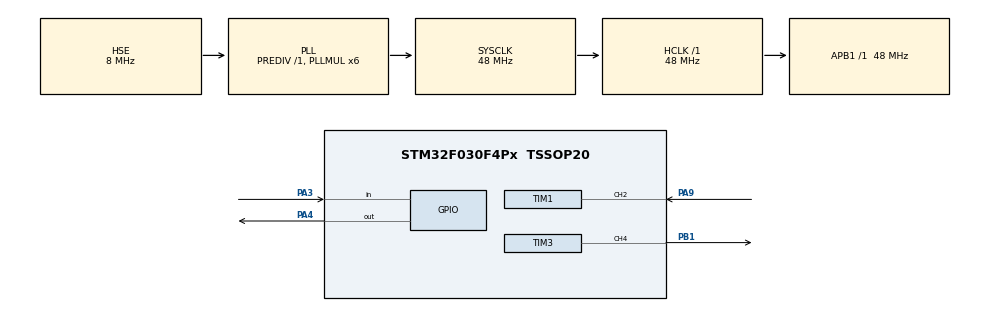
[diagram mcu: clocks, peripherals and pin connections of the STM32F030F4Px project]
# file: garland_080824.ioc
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Dma.Request0=TIM3_CH4/UP
Dma.TIM3_CH4/UP.0.Direction=DMA_MEMORY_TO_PERIPH
Dma.TIM3_CH4/UP.0.Instance=DMA1_Channel3
Dma.TIM3_CH4/UP.0.MemDataAlignment=DMA_MDATAALIGN_BYTE
Dma.TIM3_CH4/UP.0.MemInc=DMA_MINC_ENABLE
Dma.TIM3_CH4/UP.0.Mode=DMA_CIRCULAR
Dma.TIM3_CH4/UP.0.PeriphDataAlignment=DMA_PDATAALIGN_HALFWORD
Dma.TIM3_CH4/UP.0.PeriphInc=DMA_PINC_DISABLE
Dma.TIM3_CH4/UP.0.Priority=DMA_PRIORITY_HIGH
Mcu.Family=STM32F0
Mcu.Name=STM32F030F4Px
Mcu.Package=TSSOP20
NVIC.DMA1_Channel2_3_IRQn=true\:0\:0\:false\:false\:true\:false\:true\:true
NVIC.TIM17_IRQn=true\:0\:0\:false\:false\:true\:true\:true\:true
NVIC.TIM1_BRK_UP_TRG_COM_IRQn=true\:0\:0\:false\:false\:true\:true\:true\:true
NVIC.TIM1_CC_IRQn=true\:0\:0\:false\:false\:true\:true\:true\:true
PA13.Mode=Serial_Wire
PA13.Signal=SYS_SWDIO
PA14.Mode=Serial_Wire
PA14.Signal=SYS_SWCLK
PA3.GPIO_PuPd=GPIO_PULLUP
PA3.Signal=GPIO_Input
PA4.GPIO_Speed=GPIO_SPEED_FREQ_HIGH
PA4.PinState=GPIO_PIN_SET
PA4.Signal=GPIO_Output
PA9.GPIO_ModeDefaultPP=GPIO_MODE_AF_PP
PA9.GPIO_Speed=GPIO_SPEED_FREQ_HIGH
PA9.Signal=S_TIM1_CH2
PB1.GPIO_Speed=GPIO_SPEED_FREQ_HIGH
PB1.Signal=S_TIM3_CH4
PF0-OSC_IN.Mode=HSE-External-Oscillator
PF0-OSC_IN.Signal=RCC_OSC_IN
PF1-OSC_OUT.Mode=HSE-External-Oscillator
PF1-OSC_OUT.Signal=RCC_OSC_OUT
ProjectManager.HeapSize=0x200
ProjectManager.StackSize=0x400
ProjectManager.TargetToolchain=Makefile
RCC.AHBFreq_Value=48000000
RCC.APB1Freq_Value=48000000
RCC.APB1TimFreq_Value=48000000
RCC.HCLKFreq_Value=48000000
RCC.HSE_Timout=1000
RCC.PLLMUL=RCC_PLL_MUL6
RCC.PLLSourceVirtual=RCC_PLLSOURCE_HSE
RCC.SYSCLKFreq_VALUE=48000000
RCC.SYSCLKSource=RCC_SYSCLKSOURCE_PLLCLK
SH.S_TIM1_CH2.0=TIM1_CH2,TriggerSource_TI2FP2
SH.S_TIM1_CH2.1=TIM1_CH2,Input_Capture2_from_TI2
SH.S_TIM3_CH4.0=TIM3_CH4,PWM Generation4 CH4
TIM1.Channel-Input_Capture2_from_TI2=TIM_CHANNEL_2
TIM1.ICFilter_CH2=4
TIM1.ICPolarity_CH2=TIM_INPUTCHANNELPOLARITY_FALLING
TIM1.Prescaler=47
TIM17.Period=9
TIM17.Prescaler=4799
TIM3.AutoReloadPreload=TIM_AUTORELOAD_PRELOAD_ENABLE
TIM3.Channel-PWM\ Generation4\ CH4=TIM_CHANNEL_4
TIM3.Period=59
VP_TIM17_VS_ClockSourceINT.Mode=Enable_Timer
VP_TIM1_VS_ClockSourceINT.Mode=Internal
VP_TIM1_VS_ControllerModeReset.Mode=Reset Mode
VP_TIM3_VS_ClockSourceINT.Mode=Internal
board=custom

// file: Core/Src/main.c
/* USER CODE BEGIN Header */
/**
  ******************************************************************************
  * @file           : main.c
  * @brief          : Main program body
  ******************************************************************************
  * @attention
  *
  * Copyright (c) 2024 STMicroelectronics.
  * All rights reserved.
  *
  * This software is licensed under terms that can be found in the LICENSE file
  * in the root directory of this software component.
  * If no LICENSE file comes with this software, it is provided AS-IS.
  *
  ******************************************************************************
  */
/* USER CODE END Header */
#include "main.h"

/* USER CODE BEGIN Includes */
#include "tinsel.h"
#include "button.h"
#include "nec.h"
#include "effects_service.h"
/* USER CODE END Includes */

TIM_HandleTypeDef htim1;
TIM_HandleTypeDef htim3;
TIM_HandleTypeDef htim17;
DMA_HandleTypeDef hdma_tim3_ch4_up;

/* USER CODE BEGIN PV */
enum { garland_length = 22 };
enum { btn_double_click_pause_ms = 200 };
enum { dummy_arg = 0 };
enum { garland_update_period_ms = 50 };
enum { garland_default_brightness = 255 };

SMARTLED_DEF(garland, garland_length);

struct button btn;
struct NEC main_nec;
/* USER CODE END PV */

void SystemClock_Config(void);
static void MX_GPIO_Init(void);
static void MX_DMA_Init(void);
static void MX_TIM3_Init(void);
static void MX_TIM17_Init(void);
static void MX_TIM1_Init(void);

/* USER CODE BEGIN 0 */
static void garland_start(smartled_t *garland)
{
    HAL_TIM_PWM_Start_DMA(&htim3,
                          TIM_CHANNEL_4,
                          (uint32_t *) garland->pulses_buffer,
                          2 * SMARTLED_PULSES_PER_LED);
}

static void garland_stop(smartled_t *garland)
{
    HAL_TIM_PWM_Stop_DMA(&htim3, TIM_CHANNEL_4);
}

enum { auto_switch_check_period_ms = 10 };
enum { auto_switch_delay_period_ms = 60000 };
enum { auto_switch_brightness_step = 1 };

typedef enum {
    auto_switch_state_initial,
    auto_switch_state_wait_for_falling,
    auto_switch_state_falling,
    auto_switch_state_rising
} auto_switch_state_t;

static const bool random_effect_choice = false;

static volatile bool auto_switch_flag = true;
static volatile uint32_t auto_switch_counter;
static volatile auto_switch_state_t auto_switch_state = auto_switch_state_initial;

static void auto_switch_routine(uint32_t data)
{
    tinsel_add_task_timer(auto_switch_routine, dummy_arg, auto_switch_check_period_ms);

    if (!auto_switch_flag)
    {
        if (smartled_get_brightness(&garland) != garland_default_brightness)
        {
            smartled_set_brightness(&garland, garland_default_brightness);
            auto_switch_state = auto_switch_state_initial;
        }

        return;
    }

    switch (auto_switch_state)
    {
        case auto_switch_state_initial:
            smartled_set_brightness(&garland, garland_default_brightness);
            auto_switch_counter = auto_switch_delay_period_ms / auto_switch_check_period_ms;
            auto_switch_state = auto_switch_state_wait_for_falling;
            break;

        case auto_switch_state_wait_for_falling:
            if (!auto_switch_counter)
                auto_switch_state = auto_switch_state_falling;
            else
                auto_switch_counter--;
            break;

        case auto_switch_state_falling:
            if (smartled_get_brightness(&garland) > auto_switch_brightness_step)
            {
                smartled_set_brightness(&garland, smartled_get_brightness(&garland) - auto_switch_brightness_step);
            }
            else
            {
                smartled_set_brightness(&garland, 0);
                effects_service_next_effect(random_effect_choice);
                auto_switch_state = auto_switch_state_rising;
            }

            break;

        case auto_switch_state_rising:
            if (smartled_get_brightness(&garland) < garland_default_brightness - auto_switch_brightness_step)
            {
                smartled_set_brightness(&garland, smartled_get_brightness(&garland) + auto_switch_brightness_step);
            }
            else
            {
                smartled_set_brightness(&garland, garland_default_brightness);
                auto_switch_counter = auto_switch_delay_period_ms / auto_switch_check_period_ms;
                auto_switch_state = auto_switch_state_wait_for_falling;
            }

            break;
    }
}

static void garland_routine(uint32_t data)
{
    effects_service_play_currect_effect(&garland);
    smartled_flush(&garland);
}

static void button_routine(uint32_t data)
{
    tinsel_add_task_timer(button_routine, dummy_arg, 1);

    button_check(&btn);
}

void HAL_TIM_PeriodElapsedCallback(TIM_HandleTypeDef *htim)
{
    if (htim == &htim17) {
        tinsel_timer_check();
    }
}

static void foo(void)
{
    if (!smartled_next(&garland)) {
        tinsel_add_task_timer(garland_routine,
                              dummy_arg,
                              garland_update_period_ms);
    }
}

void HAL_TIM_PWM_PulseFinishedHalfCpltCallback(TIM_HandleTypeDef * htim)
{
    if (htim == &htim3) {
        foo();
    }
}

void HAL_TIM_PWM_PulseFinishedCallback(TIM_HandleTypeDef * htim)
{
    if (htim == &htim3) {
        foo();
    }
}

static bool btn_read(void)
{
    return HAL_GPIO_ReadPin(GPIOA, GPIO_PIN_3) == GPIO_PIN_RESET;
}

static void btn_click_callback(uint8_t clicks)
{
    if (clicks == 1)
    {
        auto_switch_state = auto_switch_state_initial;
        effects_service_next_effect(false);
    }

    if (clicks == 2)
    {
        auto_switch_state = auto_switch_state_initial;
        effects_service_next_effect(true);
    }
}

void main_nec_start(void)
{
    HAL_TIM_IC_Start_IT(&htim1, TIM_CHANNEL_2);
}

int32_t main_nec_read_pulse(void)
{
    return HAL_TIM_ReadCapturedValue(&htim1, TIM_CHANNEL_2);
}

static uint8_t nec_prev_address = 0x00;
static uint8_t nec_prev_command = 0x00;
static uint8_t nec_prev_exist = 0;

void main_nec_dec_callback(uint8_t address, uint8_t command)
{
    nec_prev_address = address;
    nec_prev_command = command;
    nec_prev_exist = 1;

    /* next effect */
    if (address == 0x00 && command == 0x1C)
    {
        btn_click_callback(1);
    }

    /* brightness++ */
    if (address == 0x00 && command == 0x18)
    {
        uint8_t brightness = smartled_get_brightness(&garland);

        brightness = (brightness <= 250) ? brightness + 5 : brightness;
        smartled_set_brightness(&garland, brightness);
    }

    /* brightness-- */
    if (address == 0x00 && command == 0x52)
    {
        uint8_t brightness = smartled_get_brightness(&garland);

        brightness = (brightness >= 5) ? brightness - 5 : brightness;
        smartled_set_brightness(&garland, brightness);
    }
}

void main_nec_rep_callback(void)
{
    if (nec_prev_exist)
    {
        main_nec_dec_callback(nec_prev_address, nec_prev_command);
    }
}

void main_nec_err_callback(enum nec_error err_code)
{

}

void HAL_TIM_IC_CaptureCallback(TIM_HandleTypeDef *htim)
{
    if (htim == &htim1) {
        NEC_Worker(&main_nec);
    }
}

static void nec_receiver_init(void)
{
    main_nec.start = main_nec_start;
    main_nec.read_pulse = main_nec_read_pulse;
    main_nec.dec_callback = main_nec_dec_callback;
    main_nec.rep_callback = main_nec_rep_callback;
    main_nec.err_callback = main_nec_err_callback;

    NEC_Start(&main_nec);
}
/* USER CODE END 0 */

int main(void)
{

  /* MCU Configuration--------------------------------------------------------*/

  /* Reset of all peripherals, Initializes the Flash interface and the Systick. */
  HAL_Init();

  /* Configure the system clock */
  SystemClock_Config();

  /* Initialize all configured peripherals */
  MX_GPIO_Init();
  MX_DMA_Init();
  MX_TIM3_Init();
  MX_TIM17_Init();
  MX_TIM1_Init();
  /* USER CODE BEGIN 2 */
  smartled_init(&garland,
                SMARTLED_GRB,
                garland_default_brightness,
                garland_start,
                garland_stop);

  button_init(&btn,
              btn_double_click_pause_ms,
              btn_read,
              btn_click_callback);

  effects_service_init();

  tinsel_init();
  tinsel_add_task(garland_routine, dummy_arg);
  tinsel_add_task(button_routine, dummy_arg);
  tinsel_add_task(auto_switch_routine, dummy_arg);

  nec_receiver_init();

  HAL_TIM_Base_Start_IT(&htim17);
  return tinsel_run();
  /* USER CODE END 2 */

  /* Infinite loop */
  while (1)
  {

  }
}

void SystemClock_Config(void)
{
  RCC_OscInitTypeDef RCC_OscInitStruct = {0};
  RCC_ClkInitTypeDef RCC_ClkInitStruct = {0};

  /** Initializes the RCC Oscillators according to the specified parameters
  * in the RCC_OscInitTypeDef structure.
  */
  RCC_OscInitStruct.OscillatorType = RCC_OSCILLATORTYPE_HSE;
  RCC_OscInitStruct.HSEState = RCC_HSE_ON;
  RCC_OscInitStruct.PLL.PLLState = RCC_PLL_ON;
  RCC_OscInitStruct.PLL.PLLSource = RCC_PLLSOURCE_HSE;
  RCC_OscInitStruct.PLL.PLLMUL = RCC_PLL_MUL6;
  RCC_OscInitStruct.PLL.PREDIV = RCC_PREDIV_DIV1;
  if (HAL_RCC_OscConfig(&RCC_OscInitStruct) != HAL_OK)
  {
    Error_Handler();
  }

  /** Initializes the CPU, AHB and APB buses clocks
  */
  RCC_ClkInitStruct.ClockType = RCC_CLOCKTYPE_HCLK|RCC_CLOCKTYPE_SYSCLK
                              |RCC_CLOCKTYPE_PCLK1;
  RCC_ClkInitStruct.SYSCLKSource = RCC_SYSCLKSOURCE_PLLCLK;
  RCC_ClkInitStruct.AHBCLKDivider = RCC_SYSCLK_DIV1;
  RCC_ClkInitStruct.APB1CLKDivider = RCC_HCLK_DIV1;

  if (HAL_RCC_ClockConfig(&RCC_ClkInitStruct, FLASH_LATENCY_1) != HAL_OK)
  {
    Error_Handler();
  }
}

static void MX_TIM1_Init(void)
{

  TIM_ClockConfigTypeDef sClockSourceConfig = {0};
  TIM_SlaveConfigTypeDef sSlaveConfig = {0};
  TIM_MasterConfigTypeDef sMasterConfig = {0};
  TIM_IC_InitTypeDef sConfigIC = {0};

  htim1.Instance = TIM1;
  htim1.Init.Prescaler = 47;
  htim1.Init.CounterMode = TIM_COUNTERMODE_UP;
  htim1.Init.Period = 65535;
  htim1.Init.ClockDivision = TIM_CLOCKDIVISION_DIV1;
  htim1.Init.RepetitionCounter = 0;
  htim1.Init.AutoReloadPreload = TIM_AUTORELOAD_PRELOAD_DISABLE;
  if (HAL_TIM_Base_Init(&htim1) != HAL_OK)
  {
    Error_Handler();
  }
  sClockSourceConfig.ClockSource = TIM_CLOCKSOURCE_INTERNAL;
  if (HAL_TIM_ConfigClockSource(&htim1, &sClockSourceConfig) != HAL_OK)
  {
    Error_Handler();
  }
  if (HAL_TIM_IC_Init(&htim1) != HAL_OK)
  {
    Error_Handler();
  }
  sSlaveConfig.SlaveMode = TIM_SLAVEMODE_RESET;
  sSlaveConfig.InputTrigger = TIM_TS_TI2FP2;
  sSlaveConfig.TriggerPolarity = TIM_INPUTCHANNELPOLARITY_FALLING;
  sSlaveConfig.TriggerFilter = 0;
  if (HAL_TIM_SlaveConfigSynchro(&htim1, &sSlaveConfig) != HAL_OK)
  {
    Error_Handler();
  }
  sMasterConfig.MasterOutputTrigger = TIM_TRGO_RESET;
  sMasterConfig.MasterSlaveMode = TIM_MASTERSLAVEMODE_DISABLE;
  if (HAL_TIMEx_MasterConfigSynchronization(&htim1, &sMasterConfig) != HAL_OK)
  {
    Error_Handler();
  }
  sConfigIC.ICPolarity = TIM_INPUTCHANNELPOLARITY_FALLING;
  sConfigIC.ICSelection = TIM_ICSELECTION_DIRECTTI;
  sConfigIC.ICPrescaler = TIM_ICPSC_DIV1;
  sConfigIC.ICFilter = 4;
  if (HAL_TIM_IC_ConfigChannel(&htim1, &sConfigIC, TIM_CHANNEL_2) != HAL_OK)
  {
    Error_Handler();
  }

}

static void MX_TIM3_Init(void)
{

  TIM_ClockConfigTypeDef sClockSourceConfig = {0};
  TIM_MasterConfigTypeDef sMasterConfig = {0};
  TIM_OC_InitTypeDef sConfigOC = {0};

  htim3.Instance = TIM3;
  htim3.Init.Prescaler = 0;
  htim3.Init.CounterMode = TIM_COUNTERMODE_UP;
  htim3.Init.Period = 59;
  htim3.Init.ClockDivision = TIM_CLOCKDIVISION_DIV1;
  htim3.Init.AutoReloadPreload = TIM_AUTORELOAD_PRELOAD_ENABLE;
  if (HAL_TIM_Base_Init(&htim3) != HAL_OK)
  {
    Error_Handler();
  }
  sClockSourceConfig.ClockSource = TIM_CLOCKSOURCE_INTERNAL;
  if (HAL_TIM_ConfigClockSource(&htim3, &sClockSourceConfig) != HAL_OK)
  {
    Error_Handler();
  }
  if (HAL_TIM_PWM_Init(&htim3) != HAL_OK)
  {
    Error_Handler();
  }
  sMasterConfig.MasterOutputTrigger = TIM_TRGO_RESET;
  sMasterConfig.MasterSlaveMode = TIM_MASTERSLAVEMODE_DISABLE;
  if (HAL_TIMEx_MasterConfigSynchronization(&htim3, &sMasterConfig) != HAL_OK)
  {
    Error_Handler();
  }
  sConfigOC.OCMode = TIM_OCMODE_PWM1;
  sConfigOC.Pulse = 0;
  sConfigOC.OCPolarity = TIM_OCPOLARITY_HIGH;
  sConfigOC.OCFastMode = TIM_OCFAST_DISABLE;
  if (HAL_TIM_PWM_ConfigChannel(&htim3, &sConfigOC, TIM_CHANNEL_4) != HAL_OK)
  {
    Error_Handler();
  }
  HAL_TIM_MspPostInit(&htim3);

}

static void MX_TIM17_Init(void)
{

  htim17.Instance = TIM17;
  htim17.Init.Prescaler = 4799;
  htim17.Init.CounterMode = TIM_COUNTERMODE_UP;
  htim17.Init.Period = 9;
  htim17.Init.ClockDivision = TIM_CLOCKDIVISION_DIV1;
  htim17.Init.RepetitionCounter = 0;
  htim17.Init.AutoReloadPreload = TIM_AUTORELOAD_PRELOAD_DISABLE;
  if (HAL_TIM_Base_Init(&htim17) != HAL_OK)
  {
    Error_Handler();
  }

}

static void MX_DMA_Init(void)
{

  /* DMA controller clock enable */
  __HAL_RCC_DMA1_CLK_ENABLE();

  /* DMA interrupt init */
  /* DMA1_Channel2_3_IRQn interrupt configuration */
  HAL_NVIC_SetPriority(DMA1_Channel2_3_IRQn, 0, 0);
  HAL_NVIC_EnableIRQ(DMA1_Channel2_3_IRQn);

}

static void MX_GPIO_Init(void)
{
  GPIO_InitTypeDef GPIO_InitStruct = {0};

  /* GPIO Ports Clock Enable */
  __HAL_RCC_GPIOF_CLK_ENABLE();
  __HAL_RCC_GPIOA_CLK_ENABLE();
  __HAL_RCC_GPIOB_CLK_ENABLE();

  /*Configure GPIO pin Output Level */
  HAL_GPIO_WritePin(GPIOA, GPIO_PIN_4, GPIO_PIN_SET);

  /*Configure GPIO pin : PA3 */
  GPIO_InitStruct.Pin = GPIO_PIN_3;
  GPIO_InitStruct.Mode = GPIO_MODE_INPUT;
  GPIO_InitStruct.Pull = GPIO_PULLUP;
  HAL_GPIO_Init(GPIOA, &GPIO_InitStruct);

  /*Configure GPIO pin : PA4 */
  GPIO_InitStruct.Pin = GPIO_PIN_4;
  GPIO_InitStruct.Mode = GPIO_MODE_OUTPUT_PP;
  GPIO_InitStruct.Pull = GPIO_NOPULL;
  GPIO_InitStruct.Speed = GPIO_SPEED_FREQ_HIGH;
  HAL_GPIO_Init(GPIOA, &GPIO_InitStruct);

}

void Error_Handler(void)
{
  __disable_irq();
  while (1)
  {
  }
}
